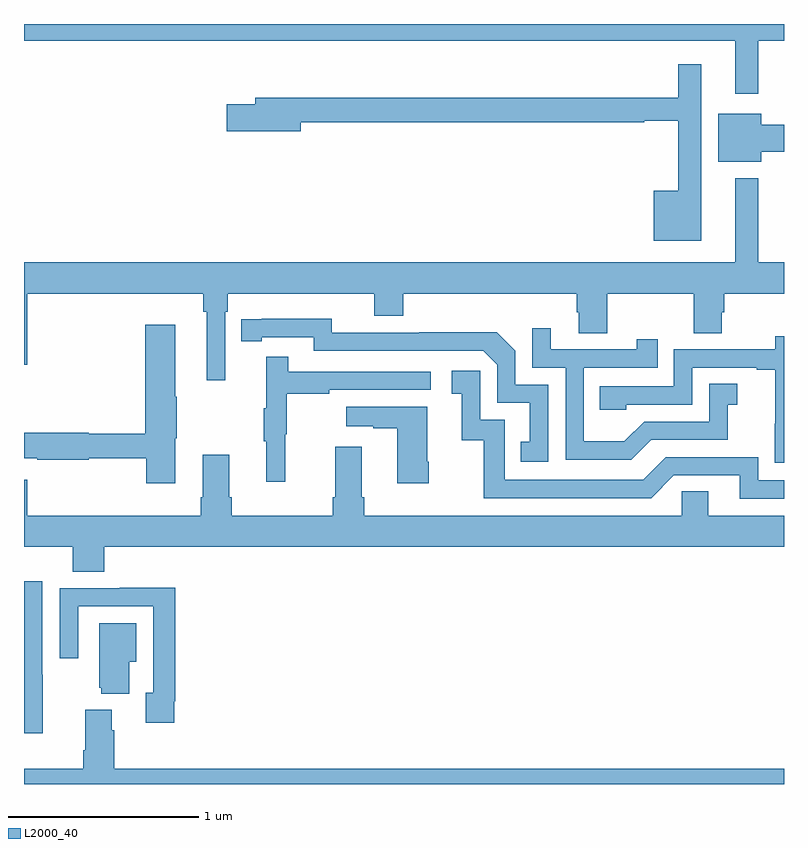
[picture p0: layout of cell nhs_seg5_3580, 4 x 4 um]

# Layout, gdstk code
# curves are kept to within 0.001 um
import gdstk
lib = gdstk.Library(unit=1e-6, precision=1e-09)
def P(c, l, *ps):  # polygons
    for p in ps: c.add(gdstk.Polygon(p, *l))
L2000_40 = (2000, 40)

nhs_seg5_3580 = lib.new_cell('nhs_seg5_3580')
P(nhs_seg5_3580, L2000_40, [(324.865,904.712),(325,904.712),(325,904.799),(321,904.799),(321,904.712),(324.743,904.712),(324.743,904.431),(324.865,904.431)],
  [(324.565,904.588),(324.444,904.588),(324.444,904.411),(322.217,904.411),(322.217,904.377),(322.068,904.377),(322.068,904.235),(322.456,904.235),(322.456,904.282),(324.265,904.282),(324.265,904.29),(324.444,904.29),(324.444,903.922),(324.314,903.922),(324.314,903.659),(324.565,903.659)],
  [(324.88,904.127),(325,904.127),(325,904.269),(324.88,904.269),(324.88,904.327),(324.653,904.327),(324.653,904.073),(324.88,904.073)],
  [(322.059,903.284),(322.073,903.284),(322.073,903.38),(322.844,903.38),(322.844,903.263),(322.997,903.263),(322.997,903.38),(323.909,903.38),(323.909,903.282),(323.921,903.282),(323.921,903.172),(324.069,903.172),(324.069,903.38),(324.526,903.38),(324.526,903.172),(324.673,903.172),(324.673,903.282),(324.686,903.282),(324.686,903.38),(325,903.38),(325,903.544),(324.865,903.544),(324.865,903.988),(324.743,903.988),(324.743,903.544),(321,903.544),(321,903.006),(321.016,903.006),(321.016,903.38),(321.943,903.38),(321.943,903.284),(321.962,903.284),(321.962,902.925),(322.059,902.925)],
  [(323.76,902.901),(323.586,902.901),(323.586,903.078),(323.488,903.176),(323.08,903.176),(323.08,903.174),(322.62,903.174),(322.62,903.247),(322.144,903.246),(322.144,903.13),(322.252,903.13),(322.252,903.15),(322.524,903.15),(322.524,903.078),(323.418,903.078),(323.49,903.006),(323.49,902.805),(323.663,902.805),(323.663,902.601),(323.614,902.601),(323.614,902.496),(323.76,902.496)],
  [(321.796,902.619),(321.804,902.619),(321.804,902.837),(321.796,902.837),(321.796,903.217),(321.638,903.217),(321.638,902.642),(321.342,902.642),(321.342,902.648),(321,902.648),(321,902.513),(321.07,902.513),(321.07,902.506),(321.342,902.506),(321.342,902.514),(321.643,902.514),(321.643,902.382),(321.796,902.382)],
  [(324.301,902.61),(324.705,902.61),(324.705,902.795),(324.754,902.795),(324.754,902.905),(324.606,902.905),(324.606,902.706),(324.264,902.706),(324.16,902.602),(323.946,902.602),(323.946,902.991),(324.335,902.991),(324.335,903.139),(324.224,903.139),(324.224,903.087),(323.773,903.087),(323.773,903.199),(323.676,903.199),(323.676,902.991),(323.85,902.991),(323.85,902.505),(324.196,902.505)],
  [(325,903.156),(324.954,903.156),(324.954,903.087),(324.42,903.087),(324.42,902.892),(324.031,902.892),(324.031,902.769),(324.171,902.769),(324.171,902.796),(324.516,902.796),(324.516,902.991),(324.857,902.991),(324.857,902.979),(324.953,902.979),(324.953,902.695),(324.952,902.695),(324.952,902.489),(325,902.489)],
  [(322.376,902.64),(322.384,902.64),(322.384,902.854),(322.607,902.854),(322.607,902.874),(323.14,902.874),(323.14,902.97),(322.391,902.97),(322.391,903.049),(322.274,903.049),(322.274,902.777),(322.263,902.777),(322.263,902.603),(322.274,902.603),(322.274,902.391),(322.376,902.391)],
  [(325,902.397),(324.864,902.397),(324.864,902.52),(324.378,902.52),(324.258,902.4),(323.529,902.4),(323.529,902.715),(323.4,902.715),(323.4,902.974),(323.25,902.974),(323.25,902.853),(323.303,902.853),(323.303,902.607),(323.421,902.607),(323.421,902.304),(324.3,902.304),(324.42,902.424),(324.767,902.424),(324.767,902.301),(325,902.301)],
  [(323.13,902.494),(323.122,902.494),(323.122,902.785),(322.695,902.785),(322.695,902.681),(322.838,902.681),(322.838,902.671),(322.964,902.671),(322.964,902.382),(323.13,902.382)],
  [(321.422,902.048),(325,902.048),(325,902.212),(324.601,902.212),(324.601,902.339),(324.462,902.339),(324.462,902.212),(322.79,902.212),(322.79,902.308),(322.777,902.308),(322.777,902.575),(322.637,902.575),(322.637,902.308),(322.625,902.308),(322.625,902.212),(322.094,902.212),(322.094,902.308),(322.081,902.308),(322.081,902.533),(321.941,902.533),(321.941,902.308),(321.929,902.308),(321.929,902.212),(321.016,902.212),(321.016,902.401),(321,902.401),(321,902.048),(321.257,902.048),(321.257,901.915),(321.422,901.915)],
  [(321.099,901.373),(321.096,901.373),(321.096,901.867),(321,901.867),(321,901.067),(321.099,901.067)],
  [(321.79,901.234),(321.797,901.234),(321.797,901.832),(321.505,901.832),(321.505,901.83),(321.189,901.83),(321.189,901.461),(321.285,901.461),(321.285,901.734),(321.681,901.734),(321.681,901.278),(321.641,901.278),(321.641,901.122),(321.79,901.122)],
  [(321.553,901.442),(321.592,901.442),(321.592,901.645),(321.395,901.645),(321.395,901.305),(321.407,901.305),(321.407,901.274),(321.553,901.274)],
  [(325,900.88),(321.476,900.88),(321.476,901.082),(321.463,901.082),(321.463,901.189),(321.323,901.189),(321.323,900.976),(321.311,900.976),(321.311,900.88),(321,900.88),(321,900.799),(325,900.799)])

lib.write_gds('nhs_seg5_3580.gds')
